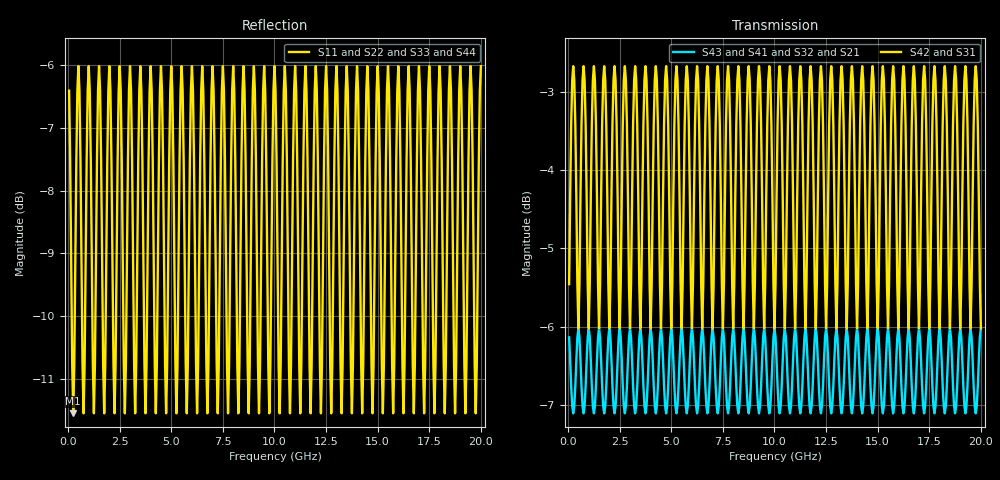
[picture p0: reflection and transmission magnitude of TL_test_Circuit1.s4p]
! Touchstone file from project TL_test
! Exported from Circuit Design 2015.2.0
# GHZ S MA R 50.000000
! Modal data exported
! Port[1] = Port1
! Port[2] = Port2
! Port[3] = Port3
! Port[4] = Port4
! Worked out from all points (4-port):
!   400 points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, 50 MHz to 20 GHz, reference 50 ohm
!   strongest paths, dB at 50 MHz, 5.05 GHz, 10.05 GHz, 15.05 GHz, 20 GHz:
!     S42: -5.5, -5.5, -5.5, -5.5, -6.0
!     S31: -5.5, -5.5, -5.5, -5.5, -6.0
!     S43: -6.1, -6.1, -6.1, -6.1, -6.0
!     S41: -6.1, -6.1, -6.1, -6.1, -6.0
!     S32: -6.1, -6.1, -6.1, -6.1, -6.0
!     S21: -6.1, -6.1, -6.1, -6.1, -6.0
!   lowest |S11| = -11.5 dB at 250 MHz (marker M1), VSWR 1.72, Z = 86 + j6.18e-15 ohm
!   |S11| at or under -10 dB: 176.7 MHz to 323.3 MHz (146.7 MHz wide, 58.7 % of centre); 676.7 MHz to 823.3 MHz (146.7 MHz wide, 19.6 % of centre); 8.177 GHz to 8.323 GHz (146.7 MHz wide, 1.78 % of centre)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
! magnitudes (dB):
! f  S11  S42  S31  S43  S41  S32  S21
! 50 MHz  -6.4  -5.5  -5.5  -6.1  -6.1  -6.1  -6.1
! 250 MHz  -11.5  -2.7  -2.7  -7.1  -7.1  -7.1  -7.1
! 500 MHz  -6.0  -6.0  -6.0  -6.0  -6.0  -6.0  -6.0
! 750 MHz  -11.5  -2.7  -2.7  -7.1  -7.1  -7.1  -7.1
! 1 GHz  -6.0  -6.0  -6.0  -6.0  -6.0  -6.0  -6.0
! 1.25 GHz  -11.5  -2.7  -2.7  -7.1  -7.1  -7.1  -7.1
! 20 GHz  -6.0  -6.0  -6.0  -6.0  -6.0  -6.0  -6.0
